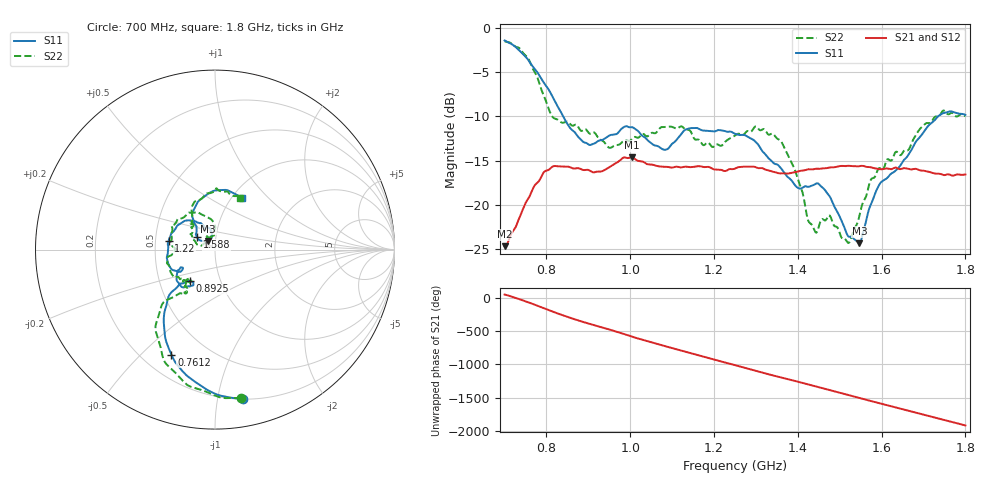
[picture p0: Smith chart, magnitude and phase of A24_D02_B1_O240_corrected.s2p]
! Created with skrf 1.9.0 (http://scikit-rf.org).
# Hz S RI R 50.0
!freq ReS11 ImS11 ReS21 ImS21 ReS12 ImS12 ReS22 ImS22
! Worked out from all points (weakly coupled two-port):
!   1601 points, 700 MHz to 1.8 GHz, reference 50 ohm
!   highest |S21| = -14.60 dB at 1.003 GHz (marker M1); lowest = -24.6 dB at 700.7 MHz (marker M2)
!   lowest |S11| = -24.3 dB at 1.547 GHz (marker M3), VSWR 1.13, Z = 46.1 + j4.39 ohm
!   |S11| at or under -10 dB: 839.8 MHz to 1.735 GHz (894.8 MHz wide, 69.5 % of centre)
!   |S22| runs from -24.3 to -1.5 dB; largest |S21 - S12| = 0.0034
!   S11 on the Smith chart (normalised r, x): 700 MHz: 0.20, -1.19; 761.2 MHz: 0.32, -0.62; 892.5 MHz: 0.71, -0.26; 1.22 GHz: 0.59, +0.06; 1.588 GHz: 0.81, +0.12; 1.8 GHz: 1.12, +0.71
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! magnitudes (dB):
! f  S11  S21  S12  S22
! 700 MHz  -1.4  -24.6  -24.4  -1.5
! 700.7 MHz  -1.4  -24.6  -24.3  -1.5
! 761.2 MHz  -4.0  -18.9  -18.8  -3.9
! 814.1 MHz  -7.7  -15.7  -15.7  -10.0
! 883.6 MHz  -12.7  -16.0  -15.9  -11.6
! 892.5 MHz  -13.0  -16.0  -16.1  -11.4
! 950.9 MHz  -12.1  -15.7  -15.7  -13.5
! 1.003 GHz  -11.2  -14.6  -14.7  -12.6
! 1.067 GHz  -13.4  -15.6  -15.6  -11.5
! 1.14 GHz  -11.4  -15.7  -15.7  -11.5
! 1.22 GHz  -11.6  -16.1  -16.1  -13.2
! 1.25 GHz  -12.0  -15.9  -15.8  -12.1
! 1.3 GHz  -12.9  -15.7  -15.7  -11.1
! 1.359 GHz  -15.8  -16.4  -16.4  -12.7
! 1.434 GHz  -17.8  -16.0  -15.9  -22.2
! 1.476 GHz  -19.0  -15.8  -15.8  -21.2
! 1.521 GHz  -23.5  -15.6  -15.6  -24.3
! 1.547 GHz  -24.3  -15.6  -15.6  -21.2
! 1.588 GHz  -18.3  -15.9  -15.9  -16.3
! 1.617 GHz  -16.7  -15.9  -15.9  -14.8
! 1.737 GHz  -9.9  -16.5  -16.5  -10.0
! 1.8 GHz  -9.8  -16.6  -16.5  -10.0
